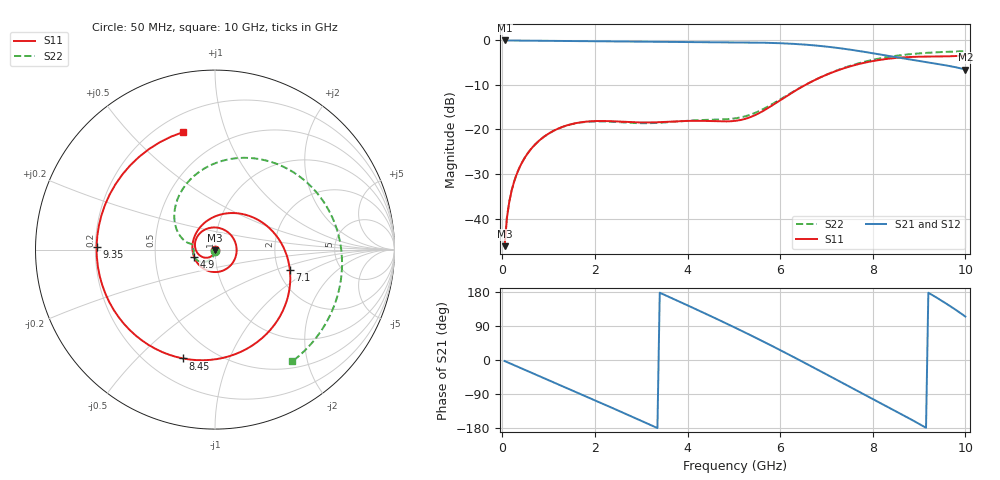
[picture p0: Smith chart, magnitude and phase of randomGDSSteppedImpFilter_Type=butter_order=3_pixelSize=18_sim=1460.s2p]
! freq	dB(S11)	phase(S11)	dB(S12)	phase(S12)
!  dB(S21)	phase(S21)	dB(S22)	phase(S22)
!S-par simulation data
#  GHz  S  DB  R 50
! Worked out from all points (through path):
!   200 points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, 50 MHz to 10 GHz, reference 50 ohm
!   highest |S21| = -0.01 dB at 50 MHz (marker M1); lowest = -6.5 dB at 10 GHz (marker M2)
!   group delay of S21, straight-line fit = 166 ps
!   lowest |S11| = -46.2 dB at 50 MHz (marker M3), VSWR 1.01, Z = 50 - j0.49 ohm
!   |S11| at or under -10 dB: start of sweep to 6.544 GHz
!   |S22| runs from -45.5 to -2.4 dB; largest |S21 - S12| = 0
!   S11 on the Smith chart (normalised r, x): 50 MHz: 1.00, -0.01; 4.9 GHz: 0.79, -0.06; 7.1 GHz: 2.31, -0.64; 8.45 GHz: 0.34, -0.69; 9.35 GHz: 0.20, +0.01; 10 GHz: 0.30, +0.72
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0.05  -46.20 -89.5  -0.01 -2.7  -0.01 -2.7  -45.55 -90.4
0.1  -39.87 -94.0  -0.01 -5.4  -0.01 -5.4  -39.64 -92.8
0.2  -33.80 -102.5  -0.02 -10.7  -0.02 -10.7  -33.75 -97.5
0.5  -26.11 -123.6  -0.05 -26.7  -0.05 -26.7  -26.08 -110.5
1.15  -20.07 -168.6  -0.12 -61.3  -0.12 -61.3  -20.08 -135.8
1.75  -18.31 147.2  -0.17 -93.1  -0.17 -93.1  -18.36 -155.5
2.65  -18.29 69.4  -0.23 -141.4  -0.23 -141.4  -18.44 -173.7
3.4  -18.36 -5.7  -0.29 177.6  -0.29 177.6  -18.49 -179.1
4.1  -18.05 -75.7  -0.36 138.6  -0.36 138.6  -17.97 174.2
4.9  -18.17 -161.1  -0.42 92.8  -0.42 92.8  -17.65 167.0
5.05  -18.04 -179.2  -0.43 84.0  -0.43 84.0  -17.46 166.8
5.5  -16.57 125.5  -0.49 57.0  -0.49 57.0  -16.08 165.8
5.95  -13.77 76.5  -0.61 29.3  -0.61 29.3  -13.56 158.5
6.7  -9.15 13.3  -1.08 -18.5  -1.08 -18.5  -9.13 126.7
7.1  -7.28 -15.2  -1.51 -44.5  -1.51 -44.5  -7.24 103.6
7.7  -5.30 -55.4  -2.37 -83.5  -2.37 -83.5  -5.12 66.3
8.35  -4.09 -99.3  -3.50 -125.5  -3.50 -125.5  -3.68 26.8
8.45  -3.98 -106.4  -3.67 -132.0  -3.67 -132.0  -3.52 21.1
8.9  -3.68 -140.8  -4.44 -161.7  -4.44 -161.7  -3.00 -3.5
9.35  -3.61 178.5  -5.19 166.7  -5.19 166.7  -2.68 -25.7
9.65  -3.57 146.7  -5.73 143.9  -5.73 143.9  -2.54 -39.5
10  -3.37 105.2  -6.53 114.7  -6.53 114.7  -2.42 -55.3
